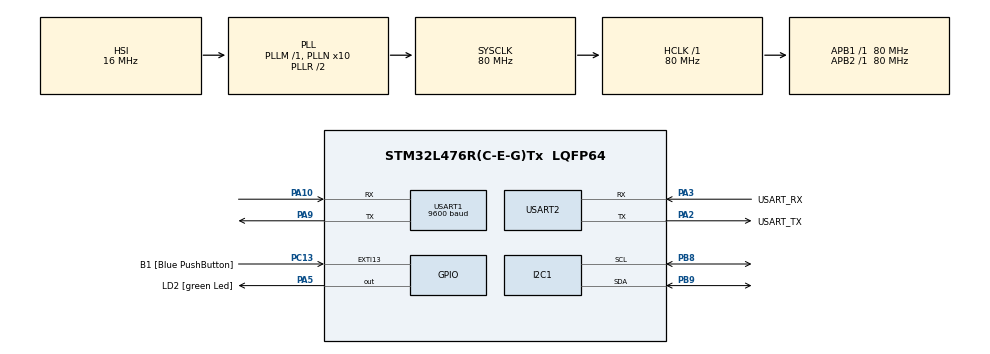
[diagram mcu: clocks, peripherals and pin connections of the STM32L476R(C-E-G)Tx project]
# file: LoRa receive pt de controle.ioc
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Dma.Request0=USART1_RX
Dma.Request1=USART1_TX
Dma.Request2=USART2_RX
Dma.Request3=USART2_TX
Dma.USART1_RX.0.Direction=DMA_PERIPH_TO_MEMORY
Dma.USART1_RX.0.Instance=DMA1_Channel5
Dma.USART1_RX.0.MemDataAlignment=DMA_MDATAALIGN_BYTE
Dma.USART1_RX.0.MemInc=DMA_MINC_ENABLE
Dma.USART1_RX.0.Mode=DMA_NORMAL
Dma.USART1_RX.0.PeriphDataAlignment=DMA_PDATAALIGN_BYTE
Dma.USART1_RX.0.PeriphInc=DMA_PINC_DISABLE
Dma.USART1_RX.0.Priority=DMA_PRIORITY_LOW
Dma.USART1_TX.1.Direction=DMA_MEMORY_TO_PERIPH
Dma.USART1_TX.1.Instance=DMA1_Channel4
Dma.USART1_TX.1.MemDataAlignment=DMA_MDATAALIGN_BYTE
Dma.USART1_TX.1.MemInc=DMA_MINC_ENABLE
Dma.USART1_TX.1.Mode=DMA_NORMAL
Dma.USART1_TX.1.PeriphDataAlignment=DMA_PDATAALIGN_BYTE
Dma.USART1_TX.1.PeriphInc=DMA_PINC_DISABLE
Dma.USART1_TX.1.Priority=DMA_PRIORITY_LOW
Dma.USART2_RX.2.Direction=DMA_PERIPH_TO_MEMORY
Dma.USART2_RX.2.Instance=DMA1_Channel6
Dma.USART2_RX.2.MemDataAlignment=DMA_MDATAALIGN_BYTE
Dma.USART2_RX.2.MemInc=DMA_MINC_ENABLE
Dma.USART2_RX.2.Mode=DMA_NORMAL
Dma.USART2_RX.2.PeriphDataAlignment=DMA_PDATAALIGN_BYTE
Dma.USART2_RX.2.PeriphInc=DMA_PINC_DISABLE
Dma.USART2_RX.2.Priority=DMA_PRIORITY_LOW
Dma.USART2_TX.3.Direction=DMA_MEMORY_TO_PERIPH
Dma.USART2_TX.3.Instance=DMA1_Channel7
Dma.USART2_TX.3.MemDataAlignment=DMA_MDATAALIGN_BYTE
Dma.USART2_TX.3.MemInc=DMA_MINC_ENABLE
Dma.USART2_TX.3.Mode=DMA_NORMAL
Dma.USART2_TX.3.PeriphDataAlignment=DMA_PDATAALIGN_BYTE
Dma.USART2_TX.3.PeriphInc=DMA_PINC_DISABLE
Dma.USART2_TX.3.Priority=DMA_PRIORITY_LOW
I2C1.Timing=0x10D19CE4
Mcu.Family=STM32L4
Mcu.Name=STM32L476R(C-E-G)Tx
Mcu.Package=LQFP64
NVIC.DMA1_Channel4_IRQn=true\:0\:0\:false\:false\:true\:false\:true\:true
NVIC.DMA1_Channel5_IRQn=true\:0\:0\:false\:false\:true\:false\:true\:true
NVIC.DMA1_Channel6_IRQn=true\:0\:0\:false\:false\:true\:false\:true\:true
NVIC.DMA1_Channel7_IRQn=true\:0\:0\:false\:false\:true\:false\:true\:true
NVIC.PriorityGroup=NVIC_PRIORITYGROUP_4
PA10.Mode=Asynchronous
PA10.Signal=USART1_RX
PA13\ (JTMS-SWDIO).GPIO_Label=TMS
PA13\ (JTMS-SWDIO).Mode=Serial_Wire
PA13\ (JTMS-SWDIO).Signal=SYS_JTMS-SWDIO
PA14\ (JTCK-SWCLK).GPIO_Label=TCK
PA14\ (JTCK-SWCLK).Mode=Serial_Wire
PA14\ (JTCK-SWCLK).Signal=SYS_JTCK-SWCLK
PA2.GPIO_Label=USART_TX
PA2.GPIO_Mode=GPIO_MODE_AF_PP
PA2.GPIO_PuPd=GPIO_NOPULL
PA2.GPIO_Speed=GPIO_SPEED_FREQ_VERY_HIGH
PA2.Mode=Asynchronous
PA2.Signal=USART2_TX
PA3.GPIO_Label=USART_RX
PA3.GPIO_Mode=GPIO_MODE_AF_PP
PA3.GPIO_PuPd=GPIO_NOPULL
PA3.GPIO_Speed=GPIO_SPEED_FREQ_VERY_HIGH
PA3.Mode=Asynchronous
PA3.Signal=USART2_RX
PA5.GPIO_Label=LD2 [green Led]
PA5.GPIO_ModeDefaultOutputPP=GPIO_MODE_OUTPUT_PP
PA5.GPIO_PuPd=GPIO_NOPULL
PA5.GPIO_Speed=GPIO_SPEED_FREQ_LOW
PA5.Signal=GPIO_Output
PA9.Mode=Asynchronous
PA9.Signal=USART1_TX
PB3\ (JTDO-TRACESWO).GPIO_Label=SWO
PB3\ (JTDO-TRACESWO).Signal=SYS_JTDO-SWO
PB8.Mode=I2C
PB8.Signal=I2C1_SCL
PB9.Mode=I2C
PB9.Signal=I2C1_SDA
PC13.GPIO_Label=B1 [Blue PushButton]
PC13.GPIO_ModeDefaultEXTI=GPIO_MODE_IT_FALLING
PC13.GPIO_PuPd=GPIO_NOPULL
PC13.Signal=GPXTI13
PC14-OSC32_IN\ (PC14).Mode=LSE-External-Oscillator
PC14-OSC32_IN\ (PC14).Signal=RCC_OSC32_IN
PC15-OSC32_OUT\ (PC15).Mode=LSE-External-Oscillator
PC15-OSC32_OUT\ (PC15).Signal=RCC_OSC32_OUT
PH0-OSC_IN\ (PH0).Signal=RCC_OSC_IN
PH1-OSC_OUT\ (PH1).Signal=RCC_OSC_OUT
ProjectManager.HeapSize=0x200
ProjectManager.StackSize=0x400
ProjectManager.TargetToolchain=STM32CubeIDE
RCC.ADCFreq_Value=64000000
RCC.AHBFreq_Value=80000000
RCC.APB1Freq_Value=80000000
RCC.APB1TimFreq_Value=80000000
RCC.APB2Freq_Value=80000000
RCC.APB2TimFreq_Value=80000000
RCC.CortexFreq_Value=80000000
RCC.HCLKFreq_Value=80000000
RCC.HSE_VALUE=8000000
RCC.HSI_VALUE=16000000
RCC.MSI_VALUE=4000000
RCC.PLLN=10
RCC.PLLSourceVirtual=RCC_PLLSOURCE_HSI
RCC.PREFETCH_ENABLE=1
RCC.SYSCLKFreq_VALUE=80000000
RCC.SYSCLKSource=RCC_SYSCLKSOURCE_PLLCLK
RCC.USBFreq_Value=64000000
RCC.VCOOutputFreq_Value=160000000
USART1.BaudRate=9600
USART1.VirtualMode-Asynchronous=VM_ASYNC
USART2.VirtualMode-Asynchronous=VM_ASYNC
board=NUCLEO-L476RG

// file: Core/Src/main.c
/* USER CODE BEGIN Header */
/**
  ******************************************************************************
  * @file           : main.c
  * @brief          : Main program body
  ******************************************************************************
  * @attention
  *
  * Copyright (c) 2025 STMicroelectronics.
  * All rights reserved.
  *
  * This software is licensed under terms that can be found in the LICENSE file
  * in the root directory of this software component.
  * If no LICENSE file comes with this software, it is provided AS-IS.
  *
  ******************************************************************************
  */
/* USER CODE END Header */
#include "main.h"
#include "dma.h"
#include "i2c.h"
#include "usart.h"
#include "gpio.h"

/* USER CODE BEGIN Includes */
#include <string.h>
#include <stdio.h>
#include <stdlib.h>
#include "lcd.h"
/* USER CODE END Includes */

/* USER CODE BEGIN PD */
#define RX_BUFF_SIZE 100
/* USER CODE END PD */

/* USER CODE BEGIN PM */
uint8_t rxBuffer[RX_BUFF_SIZE] = {0};

/* Variables globales pour le message reçu */
volatile uint8_t newMessageFlag = 0;
char messageBuffer[RX_BUFF_SIZE] = {0};
/* USER CODE END PM */

void SystemClock_Config(void);

/* USER CODE BEGIN 0 */

void hexToString(const char *input, char *output)
{
  while(*input && *(input+1))
  {
    char buf[3] = { input[0], input[1], '\0' };
    *output = (char) strtol(buf, NULL, 16);
    output++;
    input += 2;
  }
  *output = '\0';
}

static void extractAfterRxQuote(const char *input, char *output)
{
  // Chercher la sous-chaîne "RX \""
  const char *rxPos = strstr(input, "RX \"");
  if (rxPos != NULL)
  {
    // Avancer le pointeur juste après 'RX "'
    rxPos += 4; // 4 caractères : R(0) X(1) (espace)(2) "(3)

    // Trouver le prochain guillemet fermant
    const char *endQuote = strchr(rxPos, '"');
    if (endQuote != NULL)
    {
      size_t len = endQuote - rxPos;
      // S'assurer que la longueur ne dépasse pas RX_BUFF_SIZE
      if (len < RX_BUFF_SIZE)
      {
        strncpy(output, rxPos, len);
        output[len] = '\0'; // Fin de chaîne
      }
    }
  }
}
void HAL_UARTEx_RxEventCallback(UART_HandleTypeDef *huart, uint16_t Size)
{
  if (huart == &huart1)  // Réception depuis le module LoRa
  {
    // Terminer la chaîne reçue
    if (Size < RX_BUFF_SIZE)
      rxBuffer[Size] = '\0';
    else
      rxBuffer[RX_BUFF_SIZE - 1] = '\0';

    // 1) Afficher TOUT le contenu reçu sur le moniteur (USART2) pour deboggage !
    HAL_UART_Transmit(&huart2, rxBuffer, strlen((char*)rxBuffer), 100);
    HAL_UART_Transmit(&huart2, (uint8_t*)"\n", 1, 100);

    // 2) Extraire UNIQUEMENT la partie après "RX \"" jusqu'au guillemet suivant
    //    et la stocker dans messageBuffer
    extractAfterRxQuote((char*)rxBuffer, messageBuffer);
    if (strlen(messageBuffer) > 0)
    {
      // On a trouvé quelque chose après RX "
      newMessageFlag = 1;
    }

    // Réinitialiser rxBuffer et relancer la réception
    memset(rxBuffer, 0, RX_BUFF_SIZE);
    HAL_UARTEx_ReceiveToIdle_DMA(&huart1, rxBuffer, RX_BUFF_SIZE);
  }
}

void lcd_clear_line(uint8_t line)
{
    // Positionner le curseur en début de ligne
    lcd_position(&hi2c1, 0, line);

    // Écrire des espaces sur toute la ligne (16 caractères pour un LCD standard 16x2)
    for (int i = 0; i < 16; i++)
    {
        lcd_write(&hi2c1, ' ');
    }

    // Revenir au début de la même ligne
    lcd_position(&hi2c1, 0, line);
}

/* USER CODE END 0 */

int main(void)
{

  /* MCU Configuration--------------------------------------------------------*/

  /* Reset of all peripherals, Initializes the Flash interface and the Systick. */
  HAL_Init();

  /* Configure the system clock */
  SystemClock_Config();

  /* Initialize all configured peripherals */
  MX_GPIO_Init();
  MX_DMA_Init();
  MX_USART2_UART_Init();
  MX_USART1_UART_Init();
  MX_I2C1_Init();
  /* USER CODE BEGIN 2 */

  // Initialisation du LCD
  rgb_lcd myLCD;
  myLCD._displayfunction = 0;
  lcd_init(&hi2c1, &myLCD);

  // Message d'accueil sur le moniteur
  //char initMsg[] = "Waiting for LoRa messages...\n";
  //HAL_UART_Transmit(&huart2, (uint8_t *)initMsg, strlen(initMsg), 100);

  // Mettre le module LoRa en mode réception (commande AT selon votre module)
  //char atCmdRx[] = "AT+RESET";//Depanner le module //NECESSAIRE #1
  //char atCmdRx[] = "AT+MODE=TEST"; //Lancer le mode Test NECESSAIRE #2
  char atCmdRx[] = "AT+TEST=RXLRPKT"; //NECESSAIRE#3 La réception en rx
  HAL_UART_Transmit(&huart1, (uint8_t*)atCmdRx, strlen(atCmdRx), 100);

  // Démarrer la réception DMA
  HAL_UARTEx_ReceiveToIdle_DMA(&huart1, rxBuffer, RX_BUFF_SIZE);

  /* USER CODE END 2 */

  /* Infinite loop */
  while (1)
  {

    /* USER CODE BEGIN 3 */
	    // Si un nouveau message a été extrait, on l'affiche sur le LCD
	  if (newMessageFlag)
	  {
	    // Convertir la chaîne hex en ASCII (ex. "53616C7574" devient "Salut" ou plus)
	    char asciiMsg[RX_BUFF_SIZE] = {0};
	    hexToString(messageBuffer, asciiMsg);

	    // Affichage sur le moniteur uniquement le message utile converti
	    HAL_UART_Transmit(&huart2, (uint8_t *)asciiMsg, strlen(asciiMsg), 100);
	    HAL_UART_Transmit(&huart2, (uint8_t *)"\n", 1, 100);

	    // Effacer le LCD (la ligne 0 et la ligne 1)
	    lcd_clear_line(0);
	    lcd_clear_line(1);

	    uint16_t len = strlen(asciiMsg);
	    if (len <= 16)
	    {
	        // Si le message tient sur une ligne, l'afficher sur la ligne 0
	        lcd_position(&hi2c1, 0, 0);
	        lcd_print(&hi2c1, asciiMsg);
	        // La deuxième ligne reste effacée
	    }
	    else
	    {
	        // Copier les 16 premiers caractères pour la première ligne
	        char line1[17] = {0};
	        char line2[17] = {0};
	        strncpy(line1, asciiMsg, 16);
	        line1[16] = '\0';

	        // Copier la suite (jusqu'à 16 caractères) pour la deuxième ligne
	        strncpy(line2, asciiMsg + 16, 16);
	        line2[16] = '\0';

	        lcd_position(&hi2c1, 0, 0);
	        lcd_print(&hi2c1, line1);
	        lcd_position(&hi2c1, 0, 1);
	        lcd_print(&hi2c1, line2);
	    }

	    newMessageFlag = 0;
	    memset(messageBuffer, 0, RX_BUFF_SIZE);
	  }

  }
  /* USER CODE END 3 */
}

void SystemClock_Config(void)
{
  RCC_OscInitTypeDef RCC_OscInitStruct = {0};
  RCC_ClkInitTypeDef RCC_ClkInitStruct = {0};

  /** Configure the main internal regulator output voltage
  */
  if (HAL_PWREx_ControlVoltageScaling(PWR_REGULATOR_VOLTAGE_SCALE1) != HAL_OK)
  {
    Error_Handler();
  }

  /** Initializes the RCC Oscillators according to the specified parameters
  * in the RCC_OscInitTypeDef structure.
  */
  RCC_OscInitStruct.OscillatorType = RCC_OSCILLATORTYPE_HSI;
  RCC_OscInitStruct.HSIState = RCC_HSI_ON;
  RCC_OscInitStruct.HSICalibrationValue = RCC_HSICALIBRATION_DEFAULT;
  RCC_OscInitStruct.PLL.PLLState = RCC_PLL_ON;
  RCC_OscInitStruct.PLL.PLLSource = RCC_PLLSOURCE_HSI;
  RCC_OscInitStruct.PLL.PLLM = 1;
  RCC_OscInitStruct.PLL.PLLN = 10;
  RCC_OscInitStruct.PLL.PLLP = RCC_PLLP_DIV7;
  RCC_OscInitStruct.PLL.PLLQ = RCC_PLLQ_DIV2;
  RCC_OscInitStruct.PLL.PLLR = RCC_PLLR_DIV2;
  if (HAL_RCC_OscConfig(&RCC_OscInitStruct) != HAL_OK)
  {
    Error_Handler();
  }

  /** Initializes the CPU, AHB and APB buses clocks
  */
  RCC_ClkInitStruct.ClockType = RCC_CLOCKTYPE_HCLK|RCC_CLOCKTYPE_SYSCLK
                              |RCC_CLOCKTYPE_PCLK1|RCC_CLOCKTYPE_PCLK2;
  RCC_ClkInitStruct.SYSCLKSource = RCC_SYSCLKSOURCE_PLLCLK;
  RCC_ClkInitStruct.AHBCLKDivider = RCC_SYSCLK_DIV1;
  RCC_ClkInitStruct.APB1CLKDivider = RCC_HCLK_DIV1;
  RCC_ClkInitStruct.APB2CLKDivider = RCC_HCLK_DIV1;

  if (HAL_RCC_ClockConfig(&RCC_ClkInitStruct, FLASH_LATENCY_4) != HAL_OK)
  {
    Error_Handler();
  }
}

void Error_Handler(void)
{
  __disable_irq();
  while (1)
  {
  }
}
